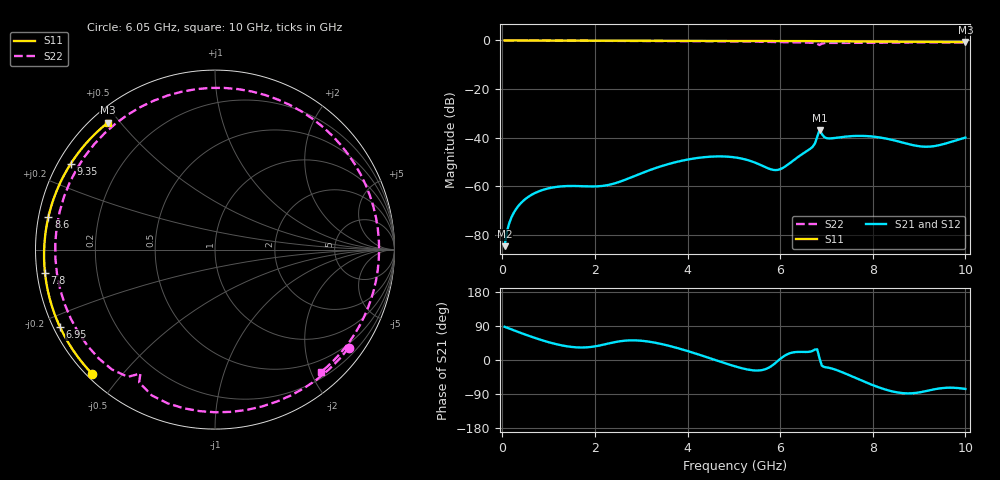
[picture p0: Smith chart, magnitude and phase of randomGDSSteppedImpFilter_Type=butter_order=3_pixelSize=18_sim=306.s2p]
! freq	dB(S11)	phase(S11)	dB(S12)	phase(S12)
!  dB(S21)	phase(S21)	dB(S22)	phase(S22)
!S-par simulation data
#  GHz  S  DB  R 50
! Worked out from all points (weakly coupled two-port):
!   200 points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, 50 MHz to 10 GHz, reference 50 ohm
!   highest |S21| = -36.87 dB at 6.85 GHz (marker M1); lowest = -84.8 dB at 50 MHz (marker M2)
!   lowest |S11| = -0.7 dB at 10 GHz (marker M3), VSWR 25.83, Z = 2.35 + j23.2 ohm
!   |S11| at or under -10 dB: nowhere
!   |S22| runs from -1.9 to 0.0 dB; largest |S21 - S12| = 0
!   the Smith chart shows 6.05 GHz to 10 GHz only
!   S11 on the Smith chart (normalised r, x): 6.05 GHz: 0.02, -0.42; 6.95 GHz: 0.02, -0.24; 7.8 GHz: 0.02, -0.07; 8.6 GHz: 0.03, +0.10; 9.35 GHz: 0.04, +0.28; 10 GHz: 0.05, +0.46
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0.05  -0.00 -1.2  -84.77 87.6  -84.77 87.6  -0.00 -3.6
0.3  -0.01 -7.3  -69.40 76.0  -69.40 76.0  -0.03 -21.1
0.6  -0.02 -14.6  -63.97 62.6  -63.97 62.6  -0.06 -41.8
1.15  -0.03 -27.8  -60.39 42.2  -60.39 42.2  -0.09 -77.6
1.75  -0.05 -41.9  -60.07 33.0  -60.07 33.0  -0.13 -113.3
2.6  -0.08 -61.4  -57.78 50.4  -57.78 50.4  -0.16 -159.0
3.4  -0.10 -79.1  -52.01 43.1  -52.01 43.1  -0.21 159.2
4.35  -0.14 -99.4  -48.11 10.1  -48.11 10.1  -0.29 104.1
5.05  -0.17 -114.0  -48.26 -17.6  -48.26 -17.6  -0.41 54.5
5.6  -0.21 -125.3  -51.51 -26.8  -51.51 -26.8  -0.54 7.5
6.05  -0.24 -134.6  -52.61 7.5  -52.61 7.5  -0.68 -36.4
6.4  -0.26 -141.9  -47.83 21.4  -47.83 21.4  -0.80 -73.3
6.7  -0.29 -148.2  -43.84 24.1  -43.84 24.1  -0.95 -107.1
6.85  -0.30 -151.3  -36.87 4.5  -36.87 4.5  -1.87 -121.0
6.95  -0.31 -153.5  -39.78 -18.4  -39.78 -18.4  -1.10 -130.7
7.35  -0.34 -162.1  -39.76 -32.8  -39.76 -32.8  -1.01 -176.9
7.8  -0.39 -172.2  -39.34 -56.3  -39.34 -56.3  -0.98 133.5
8.35  -0.45 175.0  -40.68 -80.6  -40.68 -80.6  -0.87 76.8
8.6  -0.48 168.8  -41.84 -86.8  -41.84 -86.8  -0.83 53.3
8.95  -0.53 159.9  -43.44 -86.5  -43.44 -86.5  -0.78 23.1
9.35  -0.58 149.2  -43.48 -76.8  -43.48 -76.8  -0.78 -7.4
10  -0.67 130.2  -40.02 -76.4  -40.02 -76.4  -0.89 -49.2
